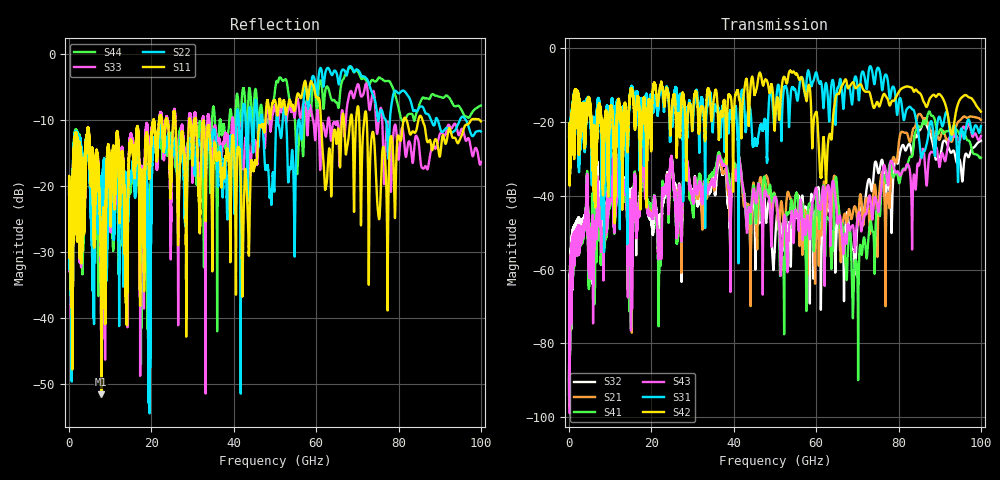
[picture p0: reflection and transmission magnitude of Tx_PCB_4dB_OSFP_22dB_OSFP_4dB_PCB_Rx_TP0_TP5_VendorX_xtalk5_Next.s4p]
! Info: Touchstone file created by Circ.  Input file=Tx_PCB_4dB_OSFP_22dB_OSFP_4dB_PCB_Rx_TP0_TP5_VendorX.circ
# Hz S RI R 50
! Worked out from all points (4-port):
!   10000 points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, 10 MHz to 100 GHz, reference 50 ohm
!   strongest paths, dB at 10 MHz, 25.01 GHz, 50.01 GHz, 75.01 GHz, 100 GHz:
!     S42: -24.1, -16.0, -20.7, -14.9, -17.2
!     S31: -24.0, -19.8, -20.2, -5.2, -21.1
!     S43: -87.9, -31.0, -40.2, -44.2, -23.8
!     S41: -89.5, -31.6, -40.0, -42.8, -29.6
!     S21: -87.9, -31.5, -39.8, -47.5, -19.4
!     S32: -86.0, -30.9, -52.9, -33.6, -25.0
!   lowest |S11| = -51.6 dB at 7.82 GHz (marker M1), VSWR 1.01, Z = 50.1 - j0.23 ohm
!   |S11| at or under -10 dB: start of sweep to 20.46 GHz; 30.75 GHz to 47.68 GHz (16.94 GHz wide, 43.2 % of centre); 85.81 GHz to 97.63 GHz (11.82 GHz wide, 12.9 % of centre)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
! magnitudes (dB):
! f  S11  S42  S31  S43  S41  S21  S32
! 10 MHz  -20.6  -24.1  -24.0  -87.9  -89.5  -87.9  -86.0
! 7.82 GHz  -51.6  -19.1  -27.8  -54.7  -55.5  -55.5  -47.5
! 36.5 GHz  -14.9  -22.1  -20.0  -29.2  -28.4  -29.8  -30.7
! 64.9 GHz  -13.5  -12.7  -14.0  -43.2  -35.1  -38.9  -51.8
! 69.06 GHz  -17.5  -9.3  -10.7  -48.8  -67.7  -43.7  -54.6
! 87.36 GHz  -13.2  -14.3  -22.1  -29.9  -17.2  -21.2  -22.4
! 100 GHz  -10.2  -17.2  -21.1  -23.8  -29.6  -19.4  -25.0
